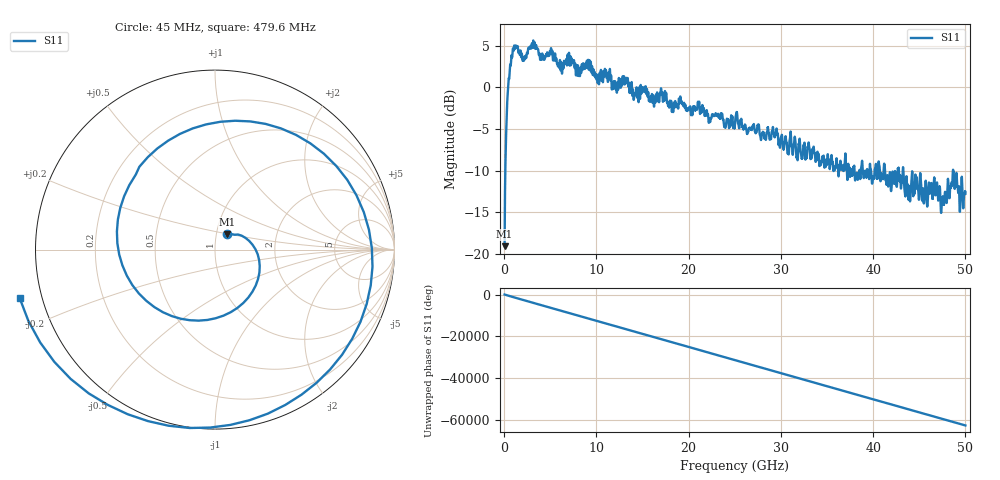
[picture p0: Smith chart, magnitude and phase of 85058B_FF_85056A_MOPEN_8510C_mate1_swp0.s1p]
!Created with skrf (http://scikit-rf.org).
# Hz S RI R 50.0
!freq ReS11 ImS11
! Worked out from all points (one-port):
!   10001 points, 45 MHz to 50 GHz, reference 50 ohm
!   lowest |S11| = -19.1 dB at 45 MHz (marker M1), VSWR 1.25, Z = 56.5 + j9.96 ohm
!   |S11| at or under -10 dB: 41.28 GHz to 42.66 GHz (1.372 GHz wide, 3.27 % of centre); 43.28 GHz to 48.65 GHz (5.372 GHz wide, 11.7 % of centre); 48.69 GHz to end of sweep (the widest 3 of 19)
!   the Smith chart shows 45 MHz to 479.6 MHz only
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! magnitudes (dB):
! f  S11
! 45 MHz  -19.1
! 319.8 MHz  -2.0
! 434.6 MHz  0.1
! 699.4 MHz  2.6
! 1.024 GHz  4.4
! 2.183 GHz  3.7
! 3.232 GHz  4.8
! 4.111 GHz  4.0
! 6.289 GHz  1.8
! 7.239 GHz  2.7
! 7.998 GHz  2.6
! 9.167 GHz  2.1
! 10.07 GHz  1.5
! 10.98 GHz  1.8
! 12.53 GHz  0.5
! 18.78 GHz  -2.1
! 25.02 GHz  -4.4
! 31.27 GHz  -8.0
! 37.51 GHz  -10.7
! 42.58 GHz  -11.7
! 43.76 GHz  -11.9
! 44.94 GHz  -13.3
! 45.69 GHz  -11.2
! 46.75 GHz  -12.9
! 47.53 GHz  -13.2
! 48.84 GHz  -12.2
! 49.31 GHz  -12.0
! 50 GHz  -12.8
